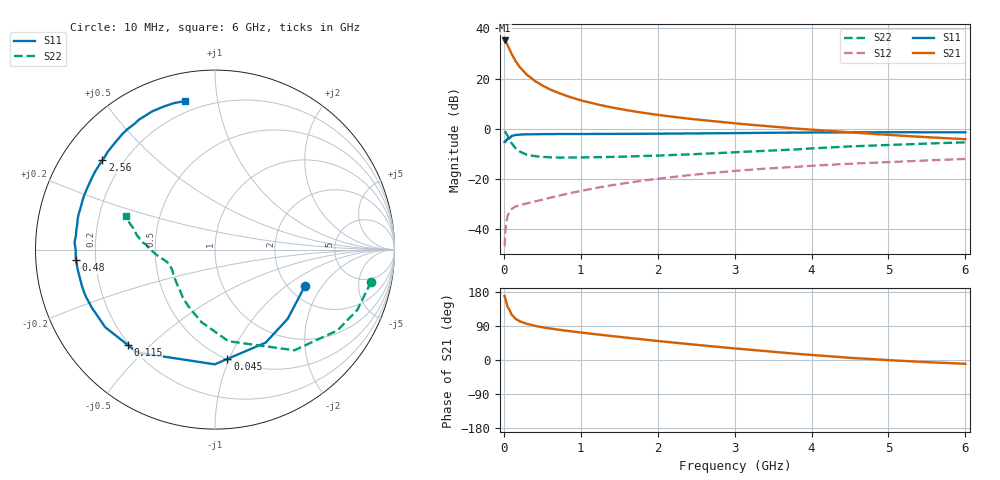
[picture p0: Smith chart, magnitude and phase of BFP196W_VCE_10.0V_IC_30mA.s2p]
! Infineon Technologies  Discrete & RF Semiconductors
! BFP196W
! VCE = 10.0V,  IC =  30mA
! Common Emitter S-Parameters:  Jan 2016
# GHz  S  MA  R  50
!  f  S11  S21  S12  S22
! GHz  MAG  ANG  MAG  ANG  MAG  ANG  MAG  ANG
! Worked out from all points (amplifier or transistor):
!   210 points, 10 MHz to 6 GHz, reference 50 ohm
!   highest |S21| = 35.2 dB at 10 MHz (marker M1)
!   |S21| within 3 dB of that: start of sweep to 66.18 MHz
!   unconditionally stable (mu >= 1): 818.9 MHz to 3.846 GHz
!   at 185 MHz: K = 0.40, MSG = 28.2 dB, |S12| = -30.8 dB
!   at 1.52 GHz: K = 1.12, MAG = 12.8 dB, |S12| = -22.0 dB
!   at 6 GHz: K = 0.95, MSG = 3.9 dB, |S12| = -12.1 dB
!   S11 on the Smith chart (normalised r, x): 10 MHz: 2.45, -1.39; 45 MHz: 0.50, -0.98; 115 MHz: 0.19, -0.43; 480 MHz: 0.13, -0.04; 2.56 GHz: 0.12, +0.34; 6 GHz: 0.14, +0.81
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0.01  0.5407 -21.8  57.57 168.8  0.0045 71.4  0.8885 -11.6
0.02  0.5592 -43.6  56.49 161.3  0.009 71.1  0.861 -23.0
0.03  0.5901 -61.4  53.44 153.4  0.0127 65.9  0.8176 -33.4
0.045  0.6129 -83.5  47.62 143.4  0.017 56.0  0.7329 -46.7
0.05  0.6392 -90.1  46.05 139.6  0.0185 53.8  0.7147 -51.7
0.1  0.7182 -127.0  31.12 119.6  0.0249 39.7  0.5163 -81.6
0.115  0.72 -132.4  28.46 117.0  0.0258 38.1  0.4797 -86.4
0.15  0.7489 -144.7  22.58 108.8  0.0278 34.9  0.4111 -100.6
0.2  0.7583 -154.5  17.39 102.8  0.0293 33.9  0.3541 -113.6
0.24  0.7651 -159.6  14.84 99.4  0.0305 34.3  0.3305 -120.8
0.3  0.7686 -165.4  11.87 95.3  0.0321 36.3  0.3013 -130.1
0.4  0.7732 -171.9  9.009 90.2  0.0352 38.6  0.2829 -139.8
0.48  0.7762 -175.6  7.61 87.2  0.0375 41.4  0.2749 -145.1
0.7  0.7836 177.0  5.244 80.3  0.0452 46.8  0.2642 -154.3
1.02  0.7807 169.5  3.607 72.1  0.0577 52.0  0.2658 -160.6
1.4  0.7851 161.8  2.653 63.2  0.0739 54.3  0.2728 -164.4
2.02  0.7933 150.5  1.864 49.9  0.101 53.8  0.2904 -168.7
2.56  0.8003 141.6  1.488 38.9  0.1243 51.2  0.3136 -172.8
3.1  0.8155 133.1  1.235 28.8  0.1471 47.6  0.343 -177.5
4.1  0.8393 119.2  0.932 11.9  0.1848 40.3  0.4101 173.5
5.1  0.8466 108.6  0.732 -1.4  0.2182 33.1  0.4784 164.5
6  0.8438 101.4  0.616 -10.1  0.2487 27.3  0.5323 159.2
